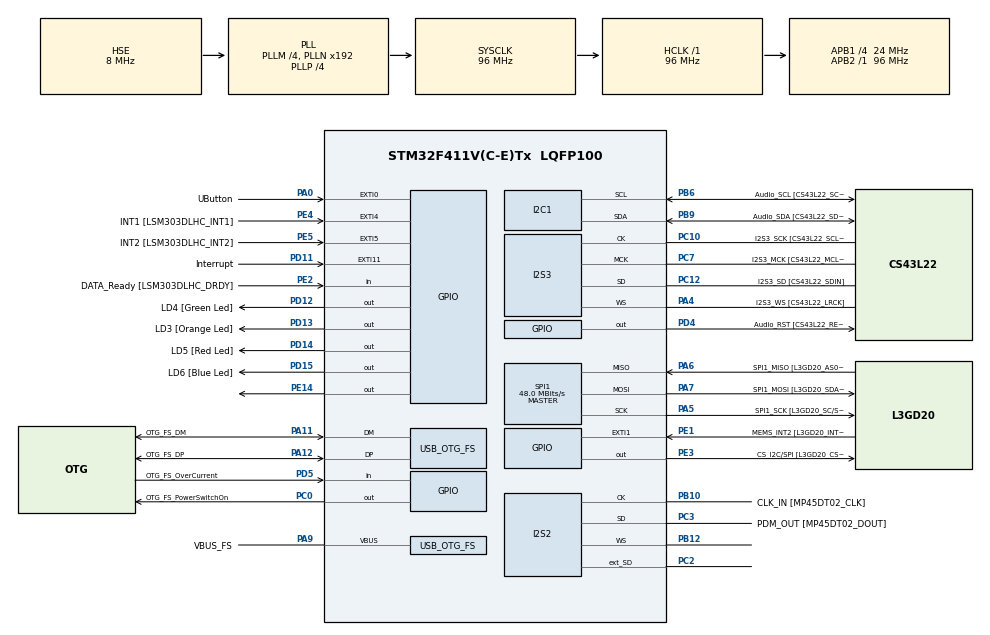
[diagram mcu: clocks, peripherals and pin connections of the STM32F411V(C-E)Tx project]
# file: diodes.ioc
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I2S2.AudioFreq=I2S_AUDIOFREQ_96K
I2S2.ErrorAudioFreq=0.15 %
I2S2.FullDuplexMode=I2S_FULLDUPLEXMODE_ENABLE
I2S2.Instance=SPI$Index
I2S2.RealAudioFreq=96.153 KHz
I2S2.VirtualMode=I2S_MODE_MASTER
I2S3.AudioFreq=I2S_AUDIOFREQ_96K
I2S3.ErrorAudioFreq=-6.99 %
I2S3.FullDuplexMode=I2S_FULLDUPLEXMODE_DISABLE
I2S3.Instance=SPI$Index
I2S3.RealAudioFreq=89.285 KHz
I2S3.VirtualMode=I2S_MODE_MASTER
Mcu.Family=STM32F4
Mcu.Name=STM32F411V(C-E)Tx
Mcu.Package=LQFP100
NVIC.EXTI0_IRQn=true\:0\:0\:false\:false\:true\:true\:true
NVIC.OTG_FS_IRQn=true\:0\:0\:false\:false\:true\:true\:true
NVIC.PriorityGroup=NVIC_PRIORITYGROUP_0
PA0-WKUP.GPIO_Label=UButton
PA0-WKUP.Signal=GPXTI0
PA10.GPIO_Label=OTG_FS_ID
PA10.Signal=USB_OTG_FS_ID
PA11.GPIO_Label=OTG_FS_DM
PA11.Mode=Host_Only
PA11.Signal=USB_OTG_FS_DM
PA12.GPIO_Label=OTG_FS_DP
PA12.Mode=Host_Only
PA12.Signal=USB_OTG_FS_DP
PA13.GPIO_Label=SWDIO
PA13.Mode=Serial_Wire
PA13.Signal=SYS_JTMS-SWDIO
PA14.GPIO_Label=SWCLK
PA14.Mode=Serial_Wire
PA14.Signal=SYS_JTCK-SWCLK
PA4.GPIO_Label=I2S3_WS [CS43L22_LRCK]
PA4.GPIO_Mode=GPIO_MODE_AF_PP
PA4.GPIO_PuPd=GPIO_NOPULL
PA4.GPIO_Speed=GPIO_SPEED_FREQ_LOW
PA4.Mode=Half_Duplex_Master
PA4.Signal=I2S3_WS
PA5.GPIO_Label=SPI1_SCK [L3GD20_SC/SPC]
PA5.Mode=Full_Duplex_Master
PA5.Signal=SPI1_SCK
PA6.GPIO_Label=SPI1_MISO [L3GD20_AS0/SDO]
PA6.Mode=Full_Duplex_Master
PA6.Signal=SPI1_MISO
PA7.GPIO_Label=SPI1_MOSI [L3GD20_SDA/SDI/SDO]
PA7.Mode=Full_Duplex_Master
PA7.Signal=SPI1_MOSI
PA9.GPIO_Label=VBUS_FS
PA9.Mode=Activate_VBUS
PA9.Signal=USB_OTG_FS_VBUS
PB10.GPIO_Label=CLK_IN [MP45DT02_CLK]
PB10.Mode=Full_Duplex_Master
PB10.Signal=I2S2_CK
PB12.Mode=Full_Duplex_Master
PB12.Signal=I2S2_WS
PB3.GPIO_Label=SWO
PB3.Signal=SYS_JTDO-SWO
PB6.GPIO_Label=Audio_SCL [CS43L22_SCL]
PB6.GPIO_Mode=GPIO_MODE_AF_OD
PB6.GPIO_PuPd=GPIO_NOPULL
PB6.GPIO_Speed=GPIO_SPEED_FREQ_LOW
PB6.Mode=I2C
PB6.Signal=I2C1_SCL
PB9.GPIO_Label=Audio_SDA [CS43L22_SDA]
PB9.GPIO_Mode=GPIO_MODE_AF_OD
PB9.GPIO_PuPd=GPIO_NOPULL
PB9.GPIO_Speed=GPIO_SPEED_FREQ_LOW
PB9.Mode=I2C
PB9.Signal=I2C1_SDA
PC0.GPIO_Label=OTG_FS_PowerSwitchOn
PC0.PinState=GPIO_PIN_SET
PC0.Signal=GPIO_Output
PC10.GPIO_Label=I2S3_SCK [CS43L22_SCLK]
PC10.GPIO_Mode=GPIO_MODE_AF_PP
PC10.GPIO_PuPd=GPIO_NOPULL
PC10.GPIO_Speed=GPIO_SPEED_FREQ_LOW
PC10.Mode=Half_Duplex_Master
PC10.Signal=I2S3_CK
PC12.GPIO_Label=I2S3_SD [CS43L22_SDIN]
PC12.GPIO_Mode=GPIO_MODE_AF_PP
PC12.GPIO_PuPd=GPIO_NOPULL
PC12.GPIO_Speed=GPIO_SPEED_FREQ_LOW
PC12.Mode=Half_Duplex_Master
PC12.Signal=I2S3_SD
PC14-OSC32_IN.GPIO_Label=PC14-OSC32_IN
PC14-OSC32_IN.Mode=LSE-External-Oscillator
PC14-OSC32_IN.Signal=RCC_OSC32_IN
PC15-OSC32_OUT.GPIO_Label=PC15-OSC32_OUT
PC15-OSC32_OUT.Mode=LSE-External-Oscillator
PC15-OSC32_OUT.Signal=RCC_OSC32_OUT
PC2.Mode=Full_Duplex_Master
PC2.Signal=I2S2_ext_SD
PC3.GPIO_Label=PDM_OUT [MP45DT02_DOUT]
PC3.Mode=Full_Duplex_Master
PC3.Signal=I2S2_SD
PC7.GPIO_Label=I2S3_MCK [CS43L22_MCLK]
PC7.GPIO_Mode=GPIO_MODE_AF_PP
PC7.GPIO_PuPd=GPIO_NOPULL
PC7.GPIO_Speed=GPIO_SPEED_FREQ_LOW
PC7.Mode=Master_Clock_Activated
PC7.Signal=I2S3_MCK
PD11.GPIO_Label=Interrupt
PD11.Signal=GPXTI11
PD12.GPIO_Label=LD4 [Green Led]
PD12.GPIO_PuPd=GPIO_NOPULL
PD12.GPIO_Speed=GPIO_SPEED_FREQ_LOW
PD12.Signal=GPIO_Output
PD13.GPIO_Label=LD3 [Orange Led]
PD13.GPIO_PuPd=GPIO_NOPULL
PD13.GPIO_Speed=GPIO_SPEED_FREQ_LOW
PD13.Signal=GPIO_Output
PD14.GPIO_Label=LD5 [Red Led]
PD14.GPIO_PuPd=GPIO_NOPULL
PD14.GPIO_Speed=GPIO_SPEED_FREQ_LOW
PD14.Signal=GPIO_Output
PD15.GPIO_Label=LD6 [Blue Led]
PD15.GPIO_PuPd=GPIO_NOPULL
PD15.GPIO_Speed=GPIO_SPEED_FREQ_LOW
PD15.Signal=GPIO_Output
PD4.GPIO_Label=Audio_RST [CS43L22_RESET]
PD4.Signal=GPIO_Output
PD5.GPIO_Label=OTG_FS_OverCurrent
PD5.Signal=GPIO_Input
PE1.GPIO_Label=MEMS_INT2 [L3GD20_INT2]
PE1.GPIO_ModeDefaultEXTI=GPIO_MODE_EVT_RISING
PE1.Signal=GPXTI1
PE14.Signal=GPIO_Output
PE2.GPIO_Label=DATA_Ready [LSM303DLHC_DRDY]
PE2.Signal=GPIO_Input
PE3.GPIO_Label=CS_I2C/SPI [L3GD20_CS_I2C/SPI]
PE3.Signal=GPIO_Output
PE4.GPIO_Label=INT1 [LSM303DLHC_INT1]
PE4.GPIO_ModeDefaultEXTI=GPIO_MODE_EVT_RISING
PE4.Signal=GPXTI4
PE5.GPIO_Label=INT2 [LSM303DLHC_INT2]
PE5.GPIO_ModeDefaultEXTI=GPIO_MODE_EVT_RISING
PE5.Signal=GPXTI5
PH0\ -\ OSC_IN.GPIO_Label=PH0-OSC_IN
PH0\ -\ OSC_IN.Mode=HSE-External-Clock-Source
PH0\ -\ OSC_IN.Signal=RCC_OSC_IN
PH1\ -\ OSC_OUT.GPIO_Label=PH1-OSC_OUT
PH1\ -\ OSC_OUT.Mode=HSE-External-Clock-Source
PH1\ -\ OSC_OUT.Signal=RCC_OSC_OUT
ProjectManager.HeapSize=0x200
ProjectManager.StackSize=0x400
ProjectManager.TargetToolchain=STM32CubeIDE
RCC.48MHZClocksFreq_Value=48000000
RCC.AHBFreq_Value=96000000
RCC.APB1CLKDivider=RCC_HCLK_DIV4
RCC.APB1Freq_Value=24000000
RCC.APB1TimFreq_Value=48000000
RCC.APB2Freq_Value=96000000
RCC.APB2TimFreq_Value=96000000
RCC.CortexFreq_Value=96000000
RCC.HCLKFreq_Value=96000000
RCC.HSE_VALUE=8000000
RCC.HSI_VALUE=16000000
RCC.PLLI2SM=5
RCC.PLLI2SN=200
RCC.PLLM=4
RCC.PLLP=RCC_PLLP_DIV4
RCC.PLLQ=8
RCC.SYSCLKFreq_VALUE=96000000
RCC.SYSCLKSource=RCC_SYSCLKSOURCE_PLLCLK
RCC.VCOOutputFreq_Value=384000000
SPI1.BaudRatePrescaler=SPI_BAUDRATEPRESCALER_2
SPI1.CalculateBaudRate=48.0 MBits/s
SPI1.Direction=SPI_DIRECTION_2LINES
SPI1.Mode=SPI_MODE_MASTER
SPI1.VirtualType=VM_MASTER
USB_HOST.BSP.number=1
USB_HOST.USBH_HandleTypeDef=hUsbHostFS
USB_HOST.VirtualModeFS=Cdc
USB_HOST0.BSP.STBoard=false
USB_HOST0.BSP.api=Unknown
USB_HOST0.BSP.i2caddr=0
USB_HOST0.BSP.i2creg=0
USB_HOST0.BSP.instance=PC0
USB_HOST0.BSP.ip=GPIO
USB_HOST0.BSP.mode=Output
USB_HOST0.BSP.name=Drive_VBUS_FS
USB_HOST0.BSP.solution=PC0
USB_OTG_FS.VirtualMode=Host_Only
USB_OTG_FS.phy_itface=HCD_PHY_EMBEDDED
VP_USB_HOST_VS_USB_HOST_CDC_FS.Mode=CDC_FS
board=STM32F411E-DISCO

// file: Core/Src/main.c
/* USER CODE BEGIN Header */
/**
  ******************************************************************************
  * @file           : main.c
  * @brief          : Main program body
  ******************************************************************************
  * @attention
  *
  * <h2><center>&copy; Copyright (c) 2020 STMicroelectronics.
  * All rights reserved.</center></h2>
  *
  * This software component is licensed by ST under Ultimate Liberty license
  * SLA0044, the "License"; You may not use this file except in compliance with
  * the License. You may obtain a copy of the License at:
  *                             www.st.com/SLA0044
  *
  ******************************************************************************
  */
/* USER CODE END Header */

#include "main.h"
#include "usb_host.h"

I2C_HandleTypeDef hi2c1;

I2S_HandleTypeDef hi2s2;
I2S_HandleTypeDef hi2s3;

SPI_HandleTypeDef hspi1;

void SystemClock_Config(void);
static void MX_GPIO_Init(void);
static void MX_I2C1_Init(void);
static void MX_I2S2_Init(void);
static void MX_I2S3_Init(void);
static void MX_SPI1_Init(void);
void MX_USB_HOST_Process(void);

/* USER CODE BEGIN PFP */
volatile int direction = 0;
void HAL_GPIO_EXTI_Callback(uint16_t GPIO_Pin)
{
	if( GPIO_Pin == UButton_Pin)
	{
		volatile static uint32_t last_change_tick;
		if( HAL_GetTick() - last_change_tick < 200 ){
			return;
		}
		last_change_tick = HAL_GetTick();
		direction = direction ? 0 : 1;
	}
}
/* USER CODE END PFP */

/* USER CODE BEGIN 0 */
int delay = 100;
int PINS[4]={GPIO_PIN_12, GPIO_PIN_13, GPIO_PIN_14, GPIO_PIN_15};
int FIRST_PIN = 1;
int SECOND_PIN = 0;
int CURRENT, PREVIOUS;
void diodes(int direction){
    CURRENT = direction ? FIRST_PIN : SECOND_PIN;
    PREVIOUS = direction ? SECOND_PIN : FIRST_PIN;

    // Turn diode ON / OFF
    HAL_GPIO_WritePin(GPIOD, PINS[CURRENT], GPIO_PIN_SET);
    HAL_GPIO_WritePin(GPIOD, PINS[PREVIOUS], GPIO_PIN_RESET);

    // Fade
    for(int i = 0; i < 10; ++i){
        HAL_GPIO_WritePin(GPIOD, PINS[PREVIOUS], GPIO_PIN_SET);
        HAL_Delay(10-i);
        HAL_GPIO_WritePin(GPIOD, PINS[PREVIOUS], GPIO_PIN_RESET);
        HAL_Delay(2*i);
    }

    // Change pins due to direction
    if (direction){
        FIRST_PIN = FIRST_PIN == 3 ? 0 : FIRST_PIN + 1;
        SECOND_PIN = SECOND_PIN == 3 ? 0 : SECOND_PIN + 1;
    } else {
        FIRST_PIN = FIRST_PIN == 0 ? 3 : FIRST_PIN - 1;
        SECOND_PIN = SECOND_PIN == 0 ? 3 : SECOND_PIN - 1;
    }

    HAL_Delay(delay);
}
/* USER CODE END 0 */

int main(void)
{

  /* MCU Configuration--------------------------------------------------------*/

  /* Reset of all peripherals, Initializes the Flash interface and the Systick. */
  HAL_Init();

  /* Configure the system clock */
  SystemClock_Config();

  /* Initialize all configured peripherals */
  MX_GPIO_Init();
  MX_I2C1_Init();
  MX_I2S2_Init();
  MX_I2S3_Init();
  MX_SPI1_Init();
  MX_USB_HOST_Init();

  /* Infinite loop */
  while (1)
  {
//    MX_USB_HOST_Process();
	  diodes(direction);
  }
}

void SystemClock_Config(void)
{
  RCC_OscInitTypeDef RCC_OscInitStruct = {0};
  RCC_ClkInitTypeDef RCC_ClkInitStruct = {0};
  RCC_PeriphCLKInitTypeDef PeriphClkInitStruct = {0};

  /** Configure the main internal regulator output voltage
  */
  __HAL_RCC_PWR_CLK_ENABLE();
  __HAL_PWR_VOLTAGESCALING_CONFIG(PWR_REGULATOR_VOLTAGE_SCALE1);
  /** Initializes the CPU, AHB and APB busses clocks
  */
  RCC_OscInitStruct.OscillatorType = RCC_OSCILLATORTYPE_HSE;
  RCC_OscInitStruct.HSEState = RCC_HSE_BYPASS;
  RCC_OscInitStruct.PLL.PLLState = RCC_PLL_ON;
  RCC_OscInitStruct.PLL.PLLSource = RCC_PLLSOURCE_HSE;
  RCC_OscInitStruct.PLL.PLLM = 4;
  RCC_OscInitStruct.PLL.PLLN = 192;
  RCC_OscInitStruct.PLL.PLLP = RCC_PLLP_DIV4;
  RCC_OscInitStruct.PLL.PLLQ = 8;
  if (HAL_RCC_OscConfig(&RCC_OscInitStruct) != HAL_OK)
  {
    Error_Handler();
  }
  /** Initializes the CPU, AHB and APB busses clocks
  */
  RCC_ClkInitStruct.ClockType = RCC_CLOCKTYPE_HCLK|RCC_CLOCKTYPE_SYSCLK
                              |RCC_CLOCKTYPE_PCLK1|RCC_CLOCKTYPE_PCLK2;
  RCC_ClkInitStruct.SYSCLKSource = RCC_SYSCLKSOURCE_PLLCLK;
  RCC_ClkInitStruct.AHBCLKDivider = RCC_SYSCLK_DIV1;
  RCC_ClkInitStruct.APB1CLKDivider = RCC_HCLK_DIV4;
  RCC_ClkInitStruct.APB2CLKDivider = RCC_HCLK_DIV1;

  if (HAL_RCC_ClockConfig(&RCC_ClkInitStruct, FLASH_LATENCY_3) != HAL_OK)
  {
    Error_Handler();
  }
  PeriphClkInitStruct.PeriphClockSelection = RCC_PERIPHCLK_I2S;
  PeriphClkInitStruct.PLLI2S.PLLI2SN = 200;
  PeriphClkInitStruct.PLLI2S.PLLI2SM = 5;
  PeriphClkInitStruct.PLLI2S.PLLI2SR = 2;
  if (HAL_RCCEx_PeriphCLKConfig(&PeriphClkInitStruct) != HAL_OK)
  {
    Error_Handler();
  }
}

static void MX_I2C1_Init(void)
{

  hi2c1.Instance = I2C1;
  hi2c1.Init.ClockSpeed = 100000;
  hi2c1.Init.DutyCycle = I2C_DUTYCYCLE_2;
  hi2c1.Init.OwnAddress1 = 0;
  hi2c1.Init.AddressingMode = I2C_ADDRESSINGMODE_7BIT;
  hi2c1.Init.DualAddressMode = I2C_DUALADDRESS_DISABLE;
  hi2c1.Init.OwnAddress2 = 0;
  hi2c1.Init.GeneralCallMode = I2C_GENERALCALL_DISABLE;
  hi2c1.Init.NoStretchMode = I2C_NOSTRETCH_DISABLE;
  if (HAL_I2C_Init(&hi2c1) != HAL_OK)
  {
    Error_Handler();
  }

}

static void MX_I2S2_Init(void)
{

  hi2s2.Instance = SPI2;
  hi2s2.Init.Mode = I2S_MODE_MASTER_TX;
  hi2s2.Init.Standard = I2S_STANDARD_PHILIPS;
  hi2s2.Init.DataFormat = I2S_DATAFORMAT_16B;
  hi2s2.Init.MCLKOutput = I2S_MCLKOUTPUT_DISABLE;
  hi2s2.Init.AudioFreq = I2S_AUDIOFREQ_96K;
  hi2s2.Init.CPOL = I2S_CPOL_LOW;
  hi2s2.Init.ClockSource = I2S_CLOCK_PLL;
  hi2s2.Init.FullDuplexMode = I2S_FULLDUPLEXMODE_ENABLE;
  if (HAL_I2S_Init(&hi2s2) != HAL_OK)
  {
    Error_Handler();
  }

}

static void MX_I2S3_Init(void)
{

  hi2s3.Instance = SPI3;
  hi2s3.Init.Mode = I2S_MODE_MASTER_TX;
  hi2s3.Init.Standard = I2S_STANDARD_PHILIPS;
  hi2s3.Init.DataFormat = I2S_DATAFORMAT_16B;
  hi2s3.Init.MCLKOutput = I2S_MCLKOUTPUT_ENABLE;
  hi2s3.Init.AudioFreq = I2S_AUDIOFREQ_96K;
  hi2s3.Init.CPOL = I2S_CPOL_LOW;
  hi2s3.Init.ClockSource = I2S_CLOCK_PLL;
  hi2s3.Init.FullDuplexMode = I2S_FULLDUPLEXMODE_DISABLE;
  if (HAL_I2S_Init(&hi2s3) != HAL_OK)
  {
    Error_Handler();
  }

}

static void MX_SPI1_Init(void)
{

  /* SPI1 parameter configuration*/
  hspi1.Instance = SPI1;
  hspi1.Init.Mode = SPI_MODE_MASTER;
  hspi1.Init.Direction = SPI_DIRECTION_2LINES;
  hspi1.Init.DataSize = SPI_DATASIZE_8BIT;
  hspi1.Init.CLKPolarity = SPI_POLARITY_LOW;
  hspi1.Init.CLKPhase = SPI_PHASE_1EDGE;
  hspi1.Init.NSS = SPI_NSS_SOFT;
  hspi1.Init.BaudRatePrescaler = SPI_BAUDRATEPRESCALER_2;
  hspi1.Init.FirstBit = SPI_FIRSTBIT_MSB;
  hspi1.Init.TIMode = SPI_TIMODE_DISABLE;
  hspi1.Init.CRCCalculation = SPI_CRCCALCULATION_DISABLE;
  hspi1.Init.CRCPolynomial = 10;
  if (HAL_SPI_Init(&hspi1) != HAL_OK)
  {
    Error_Handler();
  }

}

static void MX_GPIO_Init(void)
{
  GPIO_InitTypeDef GPIO_InitStruct = {0};

  /* GPIO Ports Clock Enable */
  __HAL_RCC_GPIOE_CLK_ENABLE();
  __HAL_RCC_GPIOC_CLK_ENABLE();
  __HAL_RCC_GPIOH_CLK_ENABLE();
  __HAL_RCC_GPIOA_CLK_ENABLE();
  __HAL_RCC_GPIOB_CLK_ENABLE();
  __HAL_RCC_GPIOD_CLK_ENABLE();

  /*Configure GPIO pin Output Level */
  HAL_GPIO_WritePin(CS_I2C_SPI_GPIO_Port, CS_I2C_SPI_Pin, GPIO_PIN_RESET);

  /*Configure GPIO pin Output Level */
  HAL_GPIO_WritePin(OTG_FS_PowerSwitchOn_GPIO_Port, OTG_FS_PowerSwitchOn_Pin, GPIO_PIN_SET);

  /*Configure GPIO pin Output Level */
  HAL_GPIO_WritePin(GPIOD, LD4_Pin|LD3_Pin|LD5_Pin|LD6_Pin
                          |Audio_RST_Pin, GPIO_PIN_RESET);

  /*Configure GPIO pin : DATA_Ready_Pin */
  GPIO_InitStruct.Pin = DATA_Ready_Pin;
  GPIO_InitStruct.Mode = GPIO_MODE_INPUT;
  GPIO_InitStruct.Pull = GPIO_NOPULL;
  HAL_GPIO_Init(DATA_Ready_GPIO_Port, &GPIO_InitStruct);

  /*Configure GPIO pin : CS_I2C_SPI_Pin */
  GPIO_InitStruct.Pin = CS_I2C_SPI_Pin;
  GPIO_InitStruct.Mode = GPIO_MODE_OUTPUT_PP;
  GPIO_InitStruct.Pull = GPIO_NOPULL;
  GPIO_InitStruct.Speed = GPIO_SPEED_FREQ_LOW;
  HAL_GPIO_Init(CS_I2C_SPI_GPIO_Port, &GPIO_InitStruct);

  /*Configure GPIO pins : INT1_Pin INT2_Pin MEMS_INT2_Pin */
  GPIO_InitStruct.Pin = INT1_Pin|INT2_Pin|MEMS_INT2_Pin;
  GPIO_InitStruct.Mode = GPIO_MODE_EVT_RISING;
  GPIO_InitStruct.Pull = GPIO_NOPULL;
  HAL_GPIO_Init(GPIOE, &GPIO_InitStruct);

  /*Configure GPIO pin : OTG_FS_PowerSwitchOn_Pin */
  GPIO_InitStruct.Pin = OTG_FS_PowerSwitchOn_Pin;
  GPIO_InitStruct.Mode = GPIO_MODE_OUTPUT_PP;
  GPIO_InitStruct.Pull = GPIO_NOPULL;
  GPIO_InitStruct.Speed = GPIO_SPEED_FREQ_LOW;
  HAL_GPIO_Init(OTG_FS_PowerSwitchOn_GPIO_Port, &GPIO_InitStruct);

  /*Configure GPIO pin : UButton_Pin */
  GPIO_InitStruct.Pin = UButton_Pin;
  GPIO_InitStruct.Mode = GPIO_MODE_IT_RISING;
  GPIO_InitStruct.Pull = GPIO_NOPULL;
  HAL_GPIO_Init(UButton_GPIO_Port, &GPIO_InitStruct);

  /*Configure GPIO pin : Interrupt_Pin */
  GPIO_InitStruct.Pin = Interrupt_Pin;
  GPIO_InitStruct.Mode = GPIO_MODE_IT_RISING;
  GPIO_InitStruct.Pull = GPIO_NOPULL;
  HAL_GPIO_Init(Interrupt_GPIO_Port, &GPIO_InitStruct);

  /*Configure GPIO pins : LD4_Pin LD3_Pin LD5_Pin LD6_Pin
                           Audio_RST_Pin */
  GPIO_InitStruct.Pin = LD4_Pin|LD3_Pin|LD5_Pin|LD6_Pin
                          |Audio_RST_Pin;
  GPIO_InitStruct.Mode = GPIO_MODE_OUTPUT_PP;
  GPIO_InitStruct.Pull = GPIO_NOPULL;
  GPIO_InitStruct.Speed = GPIO_SPEED_FREQ_LOW;
  HAL_GPIO_Init(GPIOD, &GPIO_InitStruct);

  /*Configure GPIO pin : OTG_FS_OverCurrent_Pin */
  GPIO_InitStruct.Pin = OTG_FS_OverCurrent_Pin;
  GPIO_InitStruct.Mode = GPIO_MODE_INPUT;
  GPIO_InitStruct.Pull = GPIO_NOPULL;
  HAL_GPIO_Init(OTG_FS_OverCurrent_GPIO_Port, &GPIO_InitStruct);

  /* EXTI interrupt init*/
  HAL_NVIC_SetPriority(EXTI0_IRQn, 0, 0);
  HAL_NVIC_EnableIRQ(EXTI0_IRQn);

}

void Error_Handler(void)
{
}

/************************ (C) COPYRIGHT STMicroelectronics *****END OF FILE****/
